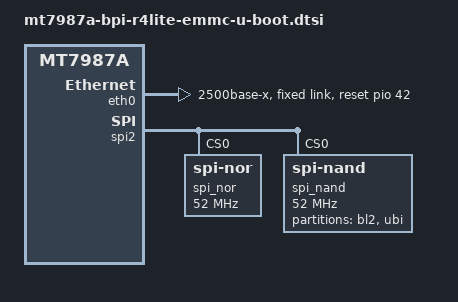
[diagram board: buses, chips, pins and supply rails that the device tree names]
// SPDX-License-Identifier: GPL-2.0
/*
 * Copyright (c) 2025 MediaTek Inc.
 * Author: Sam Shih <sam.shih@mediatek.com>
 */

#include "mt7987a-u-boot.dtsi"
#include "mt7987-netsys-u-boot.dtsi"

&eth0 {
	status = "okay";
	pinctrl-names = "default";
	pinctrl-0 = <&mdio0_pins>;
	phy-mode = "2500base-x";
	mediatek,switch = "auto";
	reset-gpios = <&pio 42 GPIO_ACTIVE_HIGH>;

	fixed-link {
		speed = <2500>;
		full-duplex;
		pause;
	};
};

&spi2 {
	pinctrl-names = "default";
	pinctrl-0 = <&spi2_flash_pins>;
	#address-cells = <1>;
	#size-cells = <0>;
	status = "okay";
	must_tx;
	enhance_timing;
	dma_ext;
	ipm_design;
	support_quad;
	tick_dly = <2>;
	sample_sel = <0>;

	/delete-node/ spi_nor@0;
	spi_nor@0 {
		compatible = "jedec,spi-nor";
		reg = <0>;
		spi-max-frequency = <52000000>;
		spi-rx-bus-width = <4>;
		spi-tx-bus-width = <4>;
	};

	/delete-node/ spi_nand@0;
	spi_nand@0 {
		compatible = "spi-nand";
		reg = <0>;
		spi-max-frequency = <52000000>;
		spi-rx-bus-width = <4>;
		spi-tx-bus-width = <4>;

		partitions {
			compatible = "fixed-partitions";
			#address-cells = <1>;
			#size-cells = <1>;

			partition@0 {
				label = "bl2";
				reg = <0x0 0x200000>;
			};

			partition@200000 {
				label = "ubi";
				reg = <0x200000 0x7e00000>;
			};
		};
	};
};
